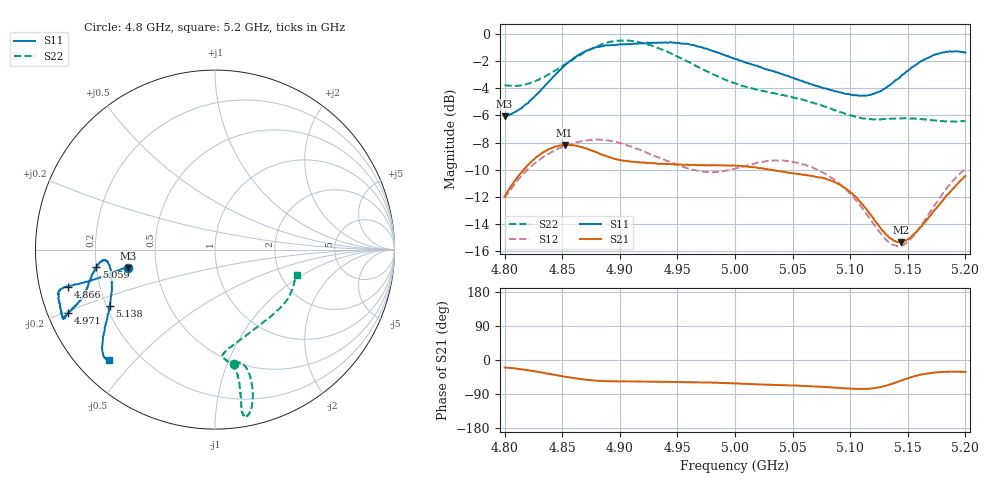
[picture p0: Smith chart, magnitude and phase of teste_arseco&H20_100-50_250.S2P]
! Network Analyzer HP8722D
! Hewlett-Packard
! Data name: Linha & Wilkinson
! Saver's name: Rodrigo Anjos
! Comments: Teste da utilização de aquisição
! continua pelo VNA HP8722D
! Time and date: 6/5/2025 14:39
!  Frequency  S11  S21  S12  S22
# HZ  S  MA R 50
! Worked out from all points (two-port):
!   401 points, 4.8 GHz to 5.2 GHz, reference 50 ohm
!   highest |S21| = -8.17 dB at 4.852 GHz (marker M1); lowest = -15.3 dB at 5.144 GHz (marker M2)
!   |S21| within 3 dB of the highest: 4.806 GHz to 5.092 GHz (286.6 MHz wide, 5.79 % of centre); 5.191586 GHz to end of sweep
!   lowest |S11| = -6.1 dB at 4.8 GHz (marker M3), VSWR 2.97, Z = 17 - j4.58 ohm
!   |S11| at or under -10 dB: nowhere
!   |S22| runs from -6.5 to -0.5 dB; largest |S21 - S12| = 0.62
!   S11 on the Smith chart (normalised r, x): 4.8 GHz: 0.34, -0.09; 4.866 GHz: 0.09, -0.12; 4.971 GHz: 0.06, -0.21; 5.059 GHz: 0.20, -0.07; 5.138 GHz: 0.21, -0.24; 5.2 GHz: 0.09, -0.42
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4.8e9  0.4968 -168.2  0.252 -19.8  0.2488 -141.0  0.6466 -80.4
4.826e9  0.5879 -167.3  0.3472 -29.7  0.3335 -144.6  0.6675 -75.6
4.852e9  0.764 -165.9  0.3905 -43.9  0.3863 -149.4  0.769 -74.6
4.866e9  0.8446 -165.9  0.3835 -50.4  0.4016 -152.0  0.836 -75.3
4.867e9  0.8485 -165.9  0.3833 -51.0  0.4029 -152.1  0.8424 -75.4
4.88e9  0.893 -165.5  0.3661 -54.6  0.4084 -154.1  0.8983 -76.8
4.9e9  0.9147 -162.7  0.3435 -56.5  0.3962 -156.5  0.9423 -79.1
4.934e9  0.9272 -156.5  0.3321 -57.6  0.3512 -155.6  0.8834 -80.5
4.949e9  0.9247 -155.4  0.3312 -57.9  0.3314 -153.0  0.8298 -80.2
4.971e9  0.8915 -156.6  0.3288 -59.3  0.3117 -146.5  0.7452 -79.6
5e9  0.8087 -159.1  0.3276 -61.9  0.3196 -137.3  0.6571 -81.4
5.034e9  0.727 -165.3  0.3147 -66.0  0.3419 -134.3  0.6038 -85.6
5.059e9  0.6682 -171.5  0.3033 -68.2  0.3314 -136.1  0.5719 -84.4
5.067e9  0.6508 -173.1  0.3003 -69.1  0.3231 -136.8  0.5591 -82.7
5.086e9  0.616 -174.7  0.2854 -72.8  0.2913 -138.5  0.5248 -75.2
5.101e9  0.5965 -172.2  0.2601 -75.9  0.2552 -138.8  0.5008 -66.4
5.116e9  0.5951 -165.5  0.2209 -76.0  0.2123 -135.5  0.4849 -55.8
5.134e9  0.6452 -154.3  0.1779 -65.2  0.1707 -120.7  0.4862 -43.3
5.138e9  0.6669 -151.8  0.1736 -61.1  0.167 -115.5  0.4872 -40.7
5.144e9  0.6988 -148.9  0.1713 -54.6  0.1659 -107.5  0.4887 -37.5
5.174e9  0.8389 -138.5  0.2269 -32.7  0.2366 -80.3  0.4801 -23.9
5.2e9  0.8523 -133.8  0.3002 -31.3  0.3193 -76.9  0.4772 -17.5
